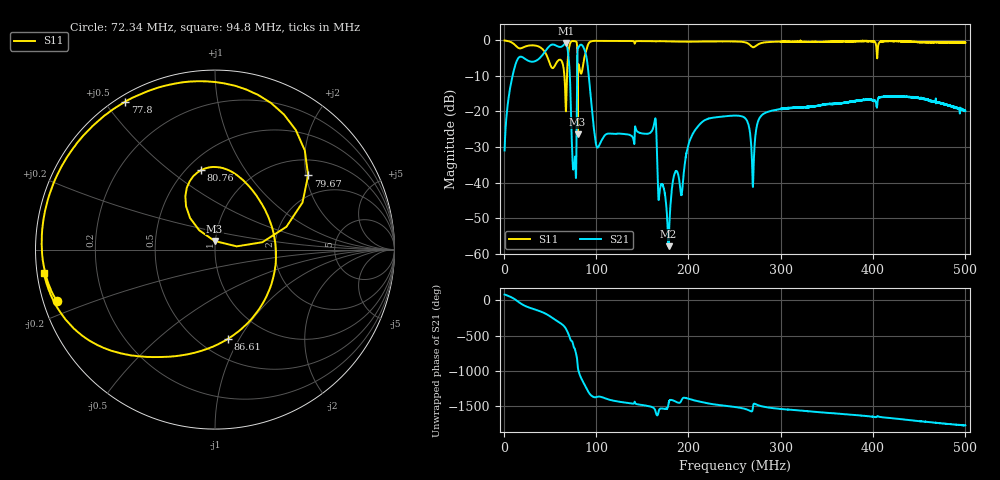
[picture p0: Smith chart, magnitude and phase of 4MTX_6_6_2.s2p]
! NanoVNA-App
! Date: 2026-08-18 22:06:14
! Start: 1MHz Stop: 500MHz Points: 6401
! S-Parameter data: F S11 S21 S12 S22
# Hz S RI R 50
!  Frequency  S11_Real  S11_Imag  S21_Real  S21_Imag  S12_Real  S12_Imag  S22_Real  S22_Imag
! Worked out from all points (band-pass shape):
!   6401 points, 1 MHz to 500 MHz, reference 50 ohm
!   highest |S21| = -0.87 dB at 67.12 MHz (marker M1); lowest = -57.9 dB at 178.5 MHz (marker M2)
!   |S21| within 3 dB of the highest: 42.92 MHz to 69.88 MHz (26.96 MHz wide, 47.8 % of centre); 79.85 MHz to 88.91 MHz (9.057 MHz wide, 10.7 % of centre)
!   lowest |S11| = -26.4 dB at 80.06 MHz (marker M3), VSWR 1.10, Z = 49.6 + j4.75 ohm
!   |S11| at or under -10 dB: 65.73 MHz to 68.52 MHz (2.797 MHz wide, 4.17 % of centre); 79.88 MHz to 80.34 MHz (460.3 kHz wide, 0.575 % of centre)
!   S12 and S22 are empty: the file has one direction only
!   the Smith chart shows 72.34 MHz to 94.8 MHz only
!   S11 on the Smith chart (normalised r, x): 72.34 MHz: 0.04, -0.16; 77.8 MHz: 0.02, +0.56; 79.67 MHz: 1.39, +2.05; 80.76 MHz: 0.59, +0.65; 86.61 MHz: 0.68, -0.90; 94.8 MHz: 0.02, -0.07
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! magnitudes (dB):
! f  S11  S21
! 1 MHz  -0.1  -31.0
! 15.5 MHz  -2.1  -5.2
! 67.12 MHz  -18.6  -0.9
! 72.34 MHz  -0.7  -15.1
! 77.8 MHz  -0.3  -36.0
! 79.67 MHz  -3.6  -7.1
! 80.06 MHz  -26.4  -2.2
! 80.76 MHz  -6.9  -2.2
! 84.19 MHz  -9.3  -1.3
! 86.61 MHz  -6.0  -2.1
! 94.8 MHz  -0.3  -17.6
! 102 MHz  -0.2  -30.1
! 162.9 MHz  -0.3  -23.5
! 167.4 MHz  -0.3  -43.5
! 178.5 MHz  -0.3  -57.9
! 206.3 MHz  -0.4  -25.7
! 250.5 MHz  -0.4  -21.2
! 269.9 MHz  -2.0  -41.2
! 280.1 MHz  -0.7  -20.9
! 333.7 MHz  -0.5  -18.8
! 416.9 MHz  -0.3  -15.8
! 500 MHz  -0.7  -20.0
